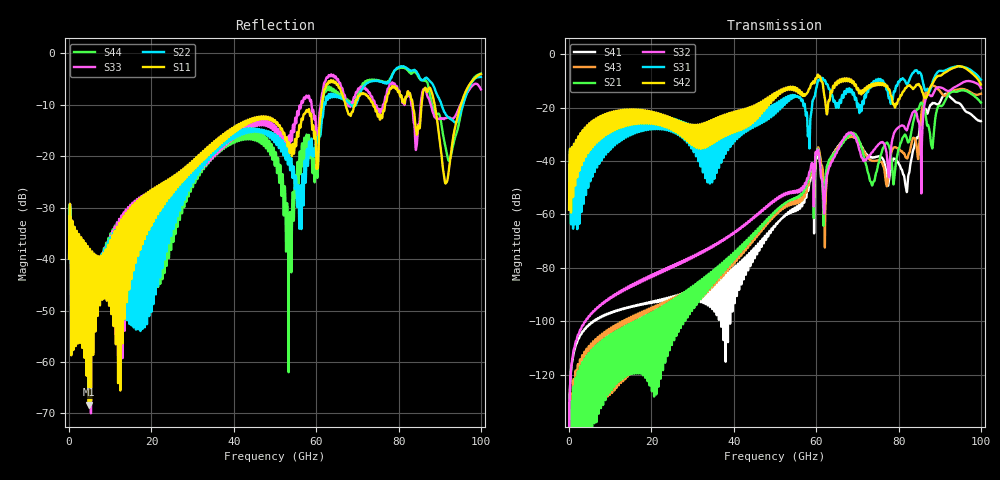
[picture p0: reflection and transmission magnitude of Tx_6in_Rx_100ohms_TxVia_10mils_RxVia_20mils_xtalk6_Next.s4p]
! Info: Touchstone file created by Circ.  Input file=Tx_6in_Rx_100ohms_TxVia_10mils_RxVia_20mils.circ
# Hz S RI R 50
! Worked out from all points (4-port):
!   10000 points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, 10 MHz to 100 GHz, reference 50 ohm
!   strongest paths, dB at 10 MHz, 25.01 GHz, 50.01 GHz, 75.01 GHz, 100 GHz:
!     S42: -58.2, -24.0, -15.4, -10.7, -11.3
!     S31: -58.2, -23.9, -19.9, -9.3, -9.5
!     S32: -144.7, -79.6, -54.3, -33.9, -12.7
!     S21: -160.4, -102.6, -59.0, -41.4, -18.1
!     S43: -146.7, -102.4, -60.0, -39.8, -14.8
!     S41: -144.8, -92.2, -64.6, -38.2, -25.0
!   lowest |S11| = -68.3 dB at 4.78 GHz (marker M1), VSWR 1.00, Z = 50 - j0.0379 ohm
!   |S11| at or under -10 dB: start of sweep to 61.32 GHz; 73.81 GHz to 76.72 GHz (2.912 GHz wide, 3.87 % of centre); 88.81 GHz to 95.13 GHz (6.32 GHz wide, 6.87 % of centre) (the widest 3 of 5)
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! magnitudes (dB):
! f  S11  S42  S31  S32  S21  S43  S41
! 10 MHz  -39.9  -58.2  -58.2  -144.7  -160.4  -146.7  -144.8
! 4.78 GHz  -68.3  -28.4  -29.0  -98.0  -111.8  -109.3  -101.3
! 38.22 GHz  -16.6  -24.1  -26.4  -68.6  -76.7  -79.0  -82.7
! 60.37 GHz  -22.3  -7.6  -10.2  -35.7  -35.4  -35.1  -35.9
! 77.11 GHz  -9.2  -11.9  -13.3  -37.2  -33.2  -49.3  -45.3
! 88.02 GHz  -7.4  -11.5  -11.7  -15.7  -34.3  -12.2  -18.8
! 100 GHz  -4.0  -11.3  -9.5  -12.7  -18.1  -14.8  -25.0
